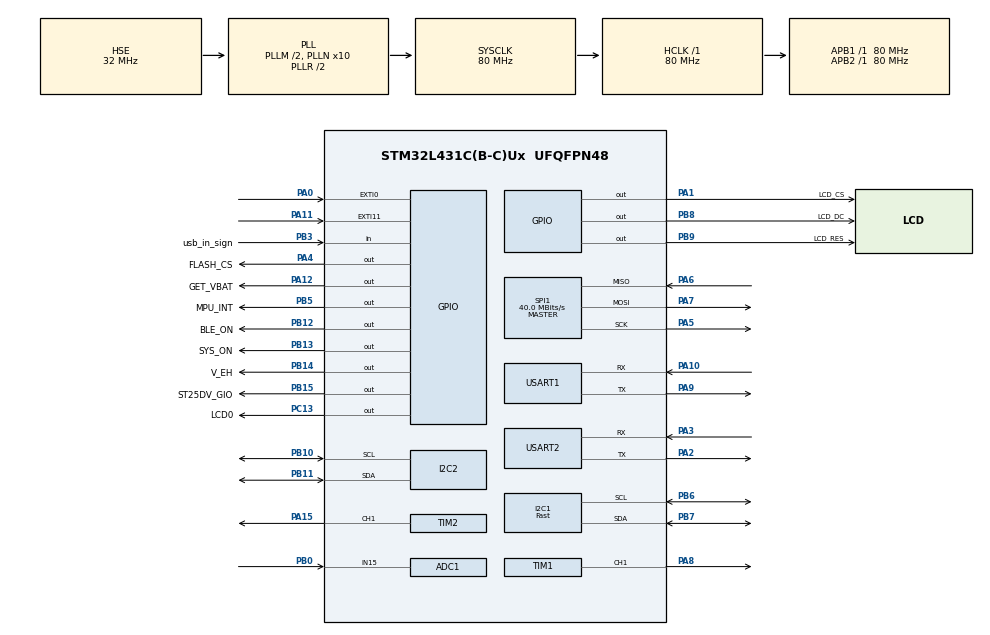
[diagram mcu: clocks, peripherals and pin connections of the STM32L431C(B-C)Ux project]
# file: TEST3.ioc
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ADC1.Channel-0\#ChannelRegularConversion=ADC_CHANNEL_15
ADC1.NbrOfConversionFlag=1
ADC1.OffsetNumber-0\#ChannelRegularConversion=ADC_OFFSET_NONE
ADC1.Rank-0\#ChannelRegularConversion=1
ADC1.SamplingTime-0\#ChannelRegularConversion=ADC_SAMPLETIME_2CYCLES_5
ADC1.master=1
Dma.Request0=SPI1_TX
Dma.Request1=USART2_RX
Dma.Request2=USART2_TX
Dma.Request3=USART1_RX
Dma.Request4=USART1_TX
Dma.SPI1_TX.0.Direction=DMA_MEMORY_TO_PERIPH
Dma.SPI1_TX.0.Instance=DMA1_Channel3
Dma.SPI1_TX.0.MemDataAlignment=DMA_MDATAALIGN_BYTE
Dma.SPI1_TX.0.MemInc=DMA_MINC_ENABLE
Dma.SPI1_TX.0.Mode=DMA_NORMAL
Dma.SPI1_TX.0.PeriphDataAlignment=DMA_PDATAALIGN_BYTE
Dma.SPI1_TX.0.PeriphInc=DMA_PINC_DISABLE
Dma.SPI1_TX.0.Priority=DMA_PRIORITY_VERY_HIGH
Dma.USART1_RX.3.Direction=DMA_PERIPH_TO_MEMORY
Dma.USART1_RX.3.Instance=DMA1_Channel5
Dma.USART1_RX.3.MemDataAlignment=DMA_MDATAALIGN_BYTE
Dma.USART1_RX.3.MemInc=DMA_MINC_ENABLE
Dma.USART1_RX.3.Mode=DMA_NORMAL
Dma.USART1_RX.3.PeriphDataAlignment=DMA_PDATAALIGN_BYTE
Dma.USART1_RX.3.PeriphInc=DMA_PINC_DISABLE
Dma.USART1_RX.3.Priority=DMA_PRIORITY_LOW
Dma.USART1_TX.4.Direction=DMA_MEMORY_TO_PERIPH
Dma.USART1_TX.4.Instance=DMA1_Channel4
Dma.USART1_TX.4.MemDataAlignment=DMA_MDATAALIGN_BYTE
Dma.USART1_TX.4.MemInc=DMA_MINC_ENABLE
Dma.USART1_TX.4.Mode=DMA_NORMAL
Dma.USART1_TX.4.PeriphDataAlignment=DMA_PDATAALIGN_BYTE
Dma.USART1_TX.4.PeriphInc=DMA_PINC_DISABLE
Dma.USART1_TX.4.Priority=DMA_PRIORITY_LOW
Dma.USART2_RX.1.Direction=DMA_PERIPH_TO_MEMORY
Dma.USART2_RX.1.Instance=DMA1_Channel6
Dma.USART2_RX.1.MemDataAlignment=DMA_MDATAALIGN_BYTE
Dma.USART2_RX.1.MemInc=DMA_MINC_ENABLE
Dma.USART2_RX.1.Mode=DMA_NORMAL
Dma.USART2_RX.1.PeriphDataAlignment=DMA_PDATAALIGN_BYTE
Dma.USART2_RX.1.PeriphInc=DMA_PINC_DISABLE
Dma.USART2_RX.1.Priority=DMA_PRIORITY_LOW
Dma.USART2_TX.2.Direction=DMA_MEMORY_TO_PERIPH
Dma.USART2_TX.2.Instance=DMA1_Channel7
Dma.USART2_TX.2.MemDataAlignment=DMA_MDATAALIGN_BYTE
Dma.USART2_TX.2.MemInc=DMA_MINC_ENABLE
Dma.USART2_TX.2.Mode=DMA_NORMAL
Dma.USART2_TX.2.PeriphDataAlignment=DMA_PDATAALIGN_BYTE
Dma.USART2_TX.2.PeriphInc=DMA_PINC_DISABLE
Dma.USART2_TX.2.Priority=DMA_PRIORITY_LOW
FREERTOS.HEAP_NUMBER=1
FREERTOS.Tasks01=defaultTask,24,550,StartDefaultTask,Default,NULL,Dynamic,NULL,NULL;myTask02,9,550,StartTask02,Default,NULL,Dynamic,NULL,NULL
FREERTOS.configTOTAL_HEAP_SIZE=8000
I2C1.I2C_Speed_Mode=I2C_Fast
I2C1.Timing=0x00702991
I2C2.Timing=0x10909CEC
Mcu.Family=STM32L4
Mcu.Name=STM32L431C(B-C)Ux
Mcu.Package=UFQFPN48
NVIC.DMA1_Channel3_IRQn=true\:0\:0\:false\:false\:true\:false\:false\:true
NVIC.DMA1_Channel4_IRQn=true\:0\:0\:false\:false\:true\:false\:false\:true
NVIC.DMA1_Channel5_IRQn=true\:0\:0\:false\:false\:true\:false\:false\:true
NVIC.DMA1_Channel6_IRQn=true\:0\:0\:false\:false\:true\:false\:false\:true
NVIC.DMA1_Channel7_IRQn=true\:0\:0\:false\:false\:true\:false\:false\:true
NVIC.EXTI0_IRQn=true\:3\:0\:true\:false\:true\:false\:true\:true
NVIC.EXTI15_10_IRQn=true\:3\:0\:true\:false\:true\:false\:true\:true
NVIC.PriorityGroup=NVIC_PRIORITYGROUP_4
NVIC.RTC_Alarm_IRQn=true\:0\:0\:false\:false\:true\:true\:true\:true
NVIC.TIM6_DAC_IRQn=true\:0\:0\:false\:false\:true\:false\:false\:true
NVIC.TimeBase=TIM6_DAC_IRQn
NVIC.TimeBaseIP=TIM6
NVIC.USART1_IRQn=true\:1\:0\:true\:false\:true\:false\:true\:true
NVIC.USART2_IRQn=true\:2\:0\:true\:false\:true\:false\:true\:true
PA0.GPIO_ModeDefaultEXTI=GPIO_MODE_IT_RISING
PA0.GPIO_PuPd=GPIO_PULLDOWN
PA0.Signal=GPXTI0
PA1.GPIO_Label=LCD_CS
PA1.Signal=GPIO_Output
PA10.Mode=Asynchronous
PA10.Signal=USART1_RX
PA11.Signal=GPXTI11
PA12.GPIO_Label=GET_VBAT
PA12.Signal=GPIO_Output
PA13\ (JTMS-SWDIO).Mode=Serial_Wire
PA13\ (JTMS-SWDIO).Signal=SYS_JTMS-SWDIO
PA14\ (JTCK-SWCLK).Mode=Serial_Wire
PA14\ (JTCK-SWCLK).Signal=SYS_JTCK-SWCLK
PA15\ (JTDI).Signal=S_TIM2_CH1
PA2.Mode=Asynchronous
PA2.Signal=USART2_TX
PA3.Mode=Asynchronous
PA3.Signal=USART2_RX
PA4.GPIO_Label=FLASH_CS
PA4.PinState=GPIO_PIN_SET
PA4.Signal=GPIO_Output
PA5.Mode=Full_Duplex_Master
PA5.Signal=SPI1_SCK
PA6.Mode=Full_Duplex_Master
PA6.Signal=SPI1_MISO
PA7.Mode=Full_Duplex_Master
PA7.Signal=SPI1_MOSI
PA8.Signal=S_TIM1_CH1
PA9.Mode=Asynchronous
PA9.Signal=USART1_TX
PB0.Signal=ADCx_IN15
PB10.Mode=I2C
PB10.Signal=I2C2_SCL
PB11.Mode=I2C
PB11.Signal=I2C2_SDA
PB12.GPIO_Label=BLE_ON
PB12.GPIO_PuPd=GPIO_PULLUP
PB12.GPIO_Speed=GPIO_SPEED_FREQ_LOW
PB12.Signal=GPIO_Output
PB13.GPIO_Label=SYS_ON
PB13.GPIO_PuPd=GPIO_PULLUP
PB13.PinState=GPIO_PIN_SET
PB13.Signal=GPIO_Output
PB14.GPIO_Label=V_EH
PB14.GPIO_PuPd=GPIO_PULLUP
PB14.Signal=GPIO_Output
PB15.GPIO_Label=ST25DV_GIO
PB15.Signal=GPIO_Output
PB3\ (JTDO-TRACESWO).GPIO_Label=usb_in_sign
PB3\ (JTDO-TRACESWO).Signal=GPIO_Input
PB5.GPIO_Label=MPU_INT
PB5.Signal=GPIO_Output
PB6.Mode=I2C
PB6.Signal=I2C1_SCL
PB7.Mode=I2C
PB7.Signal=I2C1_SDA
PB8.GPIO_Label=LCD_DC
PB8.Signal=GPIO_Output
PB9.GPIO_Label=LCD_RES
PB9.Signal=GPIO_Output
PC13.GPIO_Label=LCD0
PC13.Signal=GPIO_Output
PC14-OSC32_IN\ (PC14).Mode=LSE-External-Oscillator
PC14-OSC32_IN\ (PC14).Signal=RCC_OSC32_IN
PC15-OSC32_OUT\ (PC15).Mode=LSE-External-Oscillator
PC15-OSC32_OUT\ (PC15).Signal=RCC_OSC32_OUT
PH0-OSC_IN\ (PH0).Mode=HSE-External-Oscillator
PH0-OSC_IN\ (PH0).Signal=RCC_OSC_IN
PH1-OSC_OUT\ (PH1).Mode=HSE-External-Oscillator
PH1-OSC_OUT\ (PH1).Signal=RCC_OSC_OUT
ProjectManager.HeapSize=0x200
ProjectManager.StackSize=0x400
ProjectManager.TargetToolchain=MDK-ARM V5.27
RCC.ADCFreq_Value=64000000
RCC.AHBFreq_Value=80000000
RCC.APB1Freq_Value=80000000
RCC.APB1TimFreq_Value=80000000
RCC.APB2Freq_Value=80000000
RCC.APB2TimFreq_Value=80000000
RCC.CortexFreq_Value=80000000
RCC.HCLKFreq_Value=80000000
RCC.HSE_VALUE=32000000
RCC.HSI48_VALUE=48000000
RCC.HSI_VALUE=16000000
RCC.MSI_VALUE=4000000
RCC.PLLM=2
RCC.PLLN=10
RCC.PLLSourceVirtual=RCC_PLLSOURCE_HSE
RCC.SYSCLKFreq_VALUE=80000000
RCC.SYSCLKSource=RCC_SYSCLKSOURCE_PLLCLK
RCC.VCOOutputFreq_Value=160000000
RTC.Alarm-Alarm\ A=RTC_ALARM_A
RTC.Alarm_B-Alarm\ B=RTC_ALARM_B
RTC.Format=RTC_FORMAT_BIN
RTC.Hours=12
RTC.Hours_A-Alarm\ A=12
RTC.Minutes=30
RTC.Minutes_A-Alarm\ A=0
RTC.Minutes_B-Alarm\ B=1
RTC.SubSeconds_A-Alarm\ A=10
SH.ADCx_IN15.0=ADC1_IN15,IN15-Single-Ended
SH.S_TIM1_CH1.0=TIM1_CH1,PWM Generation1 CH1
SH.S_TIM2_CH1.0=TIM2_CH1,PWM Generation1 CH1
SPI1.BaudRatePrescaler=SPI_BAUDRATEPRESCALER_2
SPI1.CLKPhase=SPI_PHASE_2EDGE
SPI1.CLKPolarity=SPI_POLARITY_HIGH
SPI1.CalculateBaudRate=40.0 MBits/s
SPI1.DataSize=SPI_DATASIZE_8BIT
SPI1.Direction=SPI_DIRECTION_2LINES
SPI1.Mode=SPI_MODE_MASTER
SPI1.VirtualType=VM_MASTER
TIM1.Channel-PWM\ Generation1\ CH1=TIM_CHANNEL_1
TIM1.Period=500-1
TIM1.Prescaler=100-1
TIM2.Channel-PWM\ Generation1\ CH1=TIM_CHANNEL_1
TIM2.Period=500-1
TIM2.Prescaler=100-1
USART1.VirtualMode-Asynchronous=VM_ASYNC
USART2.VirtualMode-Asynchronous=VM_ASYNC
VP_FREERTOS_VS_CMSIS_V2.Mode=CMSIS_V2
VP_RTC_VS_RTC_Activate.Mode=RTC_Enabled
VP_RTC_VS_RTC_Alarm_A_Intern.Mode=Alarm A
VP_RTC_VS_RTC_Alarm_B_Intern.Mode=Alarm B
VP_RTC_VS_RTC_Calendar.Mode=RTC_Calendar
VP_SYS_VS_tim6.Mode=TIM6
board=custom

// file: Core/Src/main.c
/* USER CODE BEGIN Header */
/**
  ******************************************************************************
  * @file           : main.c
  * @brief          : Main program body
  ******************************************************************************
  * @attention
  *
  * <h2><center>&copy; Copyright (c) 2021 STMicroelectronics.
  * All rights reserved.</center></h2>
  *
  * This software component is licensed by ST under BSD 3-Clause license,
  * the "License"; You may not use this file except in compliance with the
  * License. You may obtain a copy of the License at:
  *                        opensource.org/licenses/BSD-3-Clause
  *
  ******************************************************************************
  */
/* USER CODE END Header */
#include "main.h"
#include "cmsis_os.h"
#include "adc.h"
#include "dma.h"
#include "i2c.h"
#include "rtc.h"
#include "spi.h"
#include "tim.h"
#include "usart.h"
#include "gpio.h"

/* USER CODE BEGIN Includes */

#include "stdio.h"

#include "lcd_init.h"
#include "lcd.h"
#include "getword.h"
//#include "pic.h"
//#include "picmain.h"

#include "mpu6050.h"
#include "inv_mpu.h"
#include "inv_mpu_dmp_motion_driver.h"

#include "hmc5883l.h"

#include "SI7021.h"

#include "w25q64.h"

#include "taskfun.h"

#include "string.h"
#include "ymodel.h"
//lvgl相关的库
#include "lvgl.h"
#include "lv_port_disp.h"
#include "lv_port_indev.h"
#include "lv_apps\demo\demo.h"

#include "testtaskFun.h" //测试类的函数库 //里面的函数全部都用来做测试
#include "guitest.h"  //lvgl的相关测试
#include "app_menu.h" //菜单目录
/* USER CODE END Includes */

/* USER CODE BEGIN PTD */
#ifdef __GNUC__
#define PUTCHAR_PROTOTYPE int __io_putchar(int ch)
#else
#define PUTCHAR_PROTOTYPE int fputc(int ch, FILE *f)
#endif
PUTCHAR_PROTOTYPE
{
    //具体哪个串口可以更改huart1为其它串口
    HAL_UART_Transmit(&huart1, (uint8_t *)&ch, 1, 0xffff);
    return ch;
}

void SystemClock_Config(void);
void MX_FREERTOS_Init(void);

int main(void)
{
    /* USER CODE BEGIN 1 */
//#define	test_model
#ifdef test_model
    int i;

    float pitch,roll,yaw; 		//欧拉角
    short aacx,aacy,aacz;		//加速度传感器原始数据
    short gyrox,gyroy,gyroz;	//陀螺仪原始数据
    short temp;					//温度

    float Curent_Angle;

    unsigned char USB_in_SIGN = 0;
    unsigned char KEY_1 = 0;
    unsigned char KEY_2 = 0;

    float ADC_Value_BATTERY = 0;

    int Hp = 0;
    unsigned char GBH = 0x00;
    unsigned char GBL = 0x00;
    unsigned char size = 128;
    int t=0;
#endif

    HAL_Init();

    SystemClock_Config();

    MX_GPIO_Init();
    MX_DMA_Init();
    MX_SPI1_Init();
    MX_USART1_UART_Init();
    MX_TIM1_Init();
    MX_I2C1_Init();
    MX_I2C2_Init();
    MX_USART2_UART_Init();
    MX_TIM2_Init();
    MX_RTC_Init();
    MX_ADC1_Init();
    //把 lv_tick_inc(1)放在了 vApplicationTickHook里面 所以tim7不用了
		// MX_TIM7_Init();
    /* USER CODE BEGIN 2 */
    init_task();
    lv_init();						//lvgl系统初始化
    lv_port_disp_init();	//lvgl显示接口初始化,放在lv_init()的后面
    lv_port_indev_init();	//lvgl输入接口初始化,放在lv_init()的后面
    osKernelInitialize();  /* Call init function for freertos objects (in freertos.c) */
    MX_FREERTOS_Init();
    osKernelStart();
    while(1)
    {

    }

}

void SystemClock_Config(void)
{
    RCC_OscInitTypeDef RCC_OscInitStruct = {0};
    RCC_ClkInitTypeDef RCC_ClkInitStruct = {0};
    RCC_PeriphCLKInitTypeDef PeriphClkInit = {0};

    /** Initializes the RCC Oscillators according to the specified parameters
    * in the RCC_OscInitTypeDef structure.
    */
    RCC_OscInitStruct.OscillatorType = RCC_OSCILLATORTYPE_LSI|RCC_OSCILLATORTYPE_HSE;
    RCC_OscInitStruct.HSEState = RCC_HSE_ON;
    RCC_OscInitStruct.LSIState = RCC_LSI_ON;
    RCC_OscInitStruct.PLL.PLLState = RCC_PLL_ON;
    RCC_OscInitStruct.PLL.PLLSource = RCC_PLLSOURCE_HSE;
    RCC_OscInitStruct.PLL.PLLM = 2;
    //RCC_OscInitStruct.PLL.PLLM = 1;  //改成1才是80m
    RCC_OscInitStruct.PLL.PLLN = 10;
    //RCC_OscInitStruct.PLL.PLLN = 36; //核心板的hse为8m 所以这里设置为40 最后就能得到80m 但实际上配置成40 flash读不出数据，所以设置为35
    RCC_OscInitStruct.PLL.PLLP = RCC_PLLP_DIV7;
    RCC_OscInitStruct.PLL.PLLQ = RCC_PLLQ_DIV2;
    RCC_OscInitStruct.PLL.PLLR = RCC_PLLR_DIV2;
    if (HAL_RCC_OscConfig(&RCC_OscInitStruct) != HAL_OK)
    {
        Error_Handler();
    }
    /** Initializes the CPU, AHB and APB buses clocks
    */
    RCC_ClkInitStruct.ClockType = RCC_CLOCKTYPE_HCLK|RCC_CLOCKTYPE_SYSCLK
                                  |RCC_CLOCKTYPE_PCLK1|RCC_CLOCKTYPE_PCLK2;
    RCC_ClkInitStruct.SYSCLKSource = RCC_SYSCLKSOURCE_PLLCLK;
    RCC_ClkInitStruct.AHBCLKDivider = RCC_SYSCLK_DIV1;
    RCC_ClkInitStruct.APB1CLKDivider = RCC_HCLK_DIV1;
    RCC_ClkInitStruct.APB2CLKDivider = RCC_HCLK_DIV1;

    if (HAL_RCC_ClockConfig(&RCC_ClkInitStruct, FLASH_LATENCY_4) != HAL_OK)
    {
        Error_Handler();
    }
    PeriphClkInit.PeriphClockSelection = RCC_PERIPHCLK_RTC|RCC_PERIPHCLK_USART1
                                         |RCC_PERIPHCLK_USART2|RCC_PERIPHCLK_I2C1
                                         |RCC_PERIPHCLK_I2C2|RCC_PERIPHCLK_ADC;
    PeriphClkInit.Usart1ClockSelection = RCC_USART1CLKSOURCE_PCLK2;
    PeriphClkInit.Usart2ClockSelection = RCC_USART2CLKSOURCE_PCLK1;
    PeriphClkInit.I2c1ClockSelection = RCC_I2C1CLKSOURCE_PCLK1;
    PeriphClkInit.I2c2ClockSelection = RCC_I2C2CLKSOURCE_PCLK1;
    PeriphClkInit.AdcClockSelection = RCC_ADCCLKSOURCE_PLLSAI1;
    PeriphClkInit.RTCClockSelection = RCC_RTCCLKSOURCE_LSI;
    PeriphClkInit.PLLSAI1.PLLSAI1Source = RCC_PLLSOURCE_HSE;
    PeriphClkInit.PLLSAI1.PLLSAI1M = 2;
    PeriphClkInit.PLLSAI1.PLLSAI1N = 8; // 8Mhse这里要改成32
    //PeriphClkInit.PLLSAI1.PLLSAI1N = 32;
    PeriphClkInit.PLLSAI1.PLLSAI1P = RCC_PLLP_DIV7;
    PeriphClkInit.PLLSAI1.PLLSAI1Q = RCC_PLLQ_DIV2;
    PeriphClkInit.PLLSAI1.PLLSAI1R = RCC_PLLR_DIV2;
    PeriphClkInit.PLLSAI1.PLLSAI1ClockOut = RCC_PLLSAI1_ADC1CLK;
    if (HAL_RCCEx_PeriphCLKConfig(&PeriphClkInit) != HAL_OK)
    {
        Error_Handler();
    }
    /** Configure the main internal regulator output voltage
    */
    if (HAL_PWREx_ControlVoltageScaling(PWR_REGULATOR_VOLTAGE_SCALE1) != HAL_OK)
    {
        Error_Handler();
    }
}

void HAL_TIM_PeriodElapsedCallback(TIM_HandleTypeDef *htim)
{
    if (htim->Instance == TIM6) {
        HAL_IncTick();
    }
}

void Error_Handler(void)
{

}

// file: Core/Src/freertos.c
/* USER CODE BEGIN Header */
/**
  ******************************************************************************
  * File Name          : freertos.c
  * Description        : Code for freertos applications
  ******************************************************************************
  * @attention
  *
  * <h2><center>&copy; Copyright (c) 2021 STMicroelectronics.
  * All rights reserved.</center></h2>
  *
  * This software component is licensed by ST under Ultimate Liberty license
  * SLA0044, the "License"; You may not use this file except in compliance with
  * the License. You may obtain a copy of the License at:
  *                             www.st.com/SLA0044
  *
  ******************************************************************************
  */
/* USER CODE END Header */

#include "FreeRTOS.h"
#include "task.h"
#include "main.h"
#include "cmsis_os.h"
#include "lv_port_indev.h"
#include "stdio.h"
#include "stm32l4xx_it.h"
#include "lvgl.h"
#include "key.h"
#include "menu_page.h"
#include "guitest.h"
/* USER CODE BEGIN Includes */
#include "taskfun.h"
#include "SI7021.h"

#include "usart.h"

osThreadId_t defaultTaskHandle;
const osThreadAttr_t defaultTask_attributes = {
    .name = "defaultTask",
    .priority = (osPriority_t) osPriorityNormal,
    .stack_size = 550 * 2
};
/* Definitions for button_task */
osThreadId_t Button_Task_handler;
const osThreadAttr_t button_task_attributes = {
    .name = "button_task",
    .priority = (osPriority_t) osPriorityNormal,
    .stack_size = 550 * 2
};

//LVGL task
osThreadId_t lv_task_handler_task_handle;
const osThreadAttr_t lv_task_handler_task_attributes = {
    .name = "lv_task_handler_task",
    .priority = (osPriority_t) osPriorityAboveNormal,
    .stack_size = 512 *4
};

//时间数据更新task
osThreadId_t Data_Task_handler;
const osThreadAttr_t data_task_attributes = {
    .name = "data_task",
    .priority = (osPriority_t) osPriorityNormal,
    .stack_size = 550 * 2
};

//其他传感器数据更新task
osThreadId_t Sensor_Task_handler;
const osThreadAttr_t sensor_task_attributes = {
    .name = "sensor_task",
    .priority = (osPriority_t) osPriorityNormal,
    .stack_size = 550 * 2
};

//检测是否该进入休眠模式task
osThreadId_t Sleep_Task_handler;
const osThreadAttr_t sleep_task_attributes = {
    .name = "sleep_task",
    .priority = (osPriority_t) 25,
    .stack_size = 550 * 2
};

//蓝牙数据检测
osThreadId_t Ble_Task_handler;
const osThreadAttr_t ble_task_attributes = {
    .name = "ble_task",
    .priority = (osPriority_t) 26,
    .stack_size = 550 * 2
};

void StartDefaultTask(void *argument);
void Button_task(void *argument);
void lv_task_handler_task( void *argument );
void MX_FREERTOS_Init(void); /* (MISRA C 2004 rule 8.1) */
void Data_task(void *argument);
void Sensor_task(void *argument);
void Sleep_task(void *argument);
void Ble_task(void *argument);

void MX_FREERTOS_Init(void) {

// defaultTaskHandle = osThreadNew(StartDefaultTask, NULL, &defaultTask_attributes);

    /* creation of button_task */
    Button_Task_handler = osThreadNew(Button_task, NULL, &button_task_attributes);

    lv_task_handler_task_handle = osThreadNew(lv_task_handler_task, NULL, &lv_task_handler_task_attributes);

    Data_Task_handler = osThreadNew(Data_task, NULL, &data_task_attributes);

    Ble_Task_handler = osThreadNew(Ble_task, NULL, &ble_task_attributes);
    Sleep_Task_handler = osThreadNew(Sleep_task, NULL, &sleep_task_attributes);
    Sensor_Task_handler = osThreadNew(Sensor_task, NULL, &sensor_task_attributes);

}

void StartDefaultTask(void *argument)
{
    /* USER CODE BEGIN StartDefaultTask */
    /* Infinite loop */
    for(;;)
    {
        task_base();

        //display_test_task();
        //printf("out of task task_base");
        osDelay(1);
    }
    /* USER CODE END StartDefaultTask */
}

void Button_task(void *argument)
{
    int button=0;
    printf("button=%d",button);
    /* USER CODE BEGIN Button_task */
    /* Infinite loop */
    for(;;)
    {

        button=button_scan();
        LCD_display(button);

        if(button!=0)
            printf("button=%d",button);
        osDelay(100);
    }
    /* USER CODE END Button_task */
}

void lv_task_handler_task( void *argument )
{
    TickType_t xLastWakeTime;
    const TickType_t xPeriod = pdMS_TO_TICKS( 5 );
    lv_theme_t * theme = lv_theme_mono_init(210,NULL); //创建 mono 主题 消耗很少的ram
    lv_theme_set_current(theme); //使用主题;
    app_menu_create(); //菜单创建
    app_menu_tip_create();
    app_setting_create();
    app_about_create();
    app_lighting_create();
		LmeterSec_Create();
    app_digital_clock_create();
		app_memo_create();

    // 使用当前时间初始化变量xLastWakeTime ,注意这和vTaskDelay()函数不同
    xLastWakeTime = xTaskGetTickCount();

    for(;;)
    {
        /* 调用系统延时函数,周期性阻塞5ms */
        vTaskDelayUntil( &xLastWakeTime,xPeriod );
        //osDelay(500);
        lv_task_handler();
        /*******/
    }
    vTaskDelete(NULL);
}

int time_change_flag=1,date_change_flag=1,week_change_flag=1,second_change_flag=1,bat_change_flag=1;

int pre_time=-1,pre_date=-1,pre_week=-1,pre_second=-1,pre_bat=-1;
void Data_task(void *argument)
{

    for(;;)
    {

        //获取rtc时间
        get_time();
        ////记得sprintf后，把两个数组的最后一位置为停止位，否则别的label会显示不全

        if(pre_date!=sDate.Date)
        {
            sprintf((char*)date_now,"%02d-%02d",sDate.Month,sDate.Date);
            //sprintf((char*)date_now,"%02d",sDate.Date);
            pre_date=sDate.Date;
            date_change_flag=1;
            date_now[5]='\0';
            printf("m=%d date=%d  string=%s \r\n",sDate.Month,sDate.Date,date_now);
        }
        if(pre_time!=sTime.Minutes)
        {
						printf("get in data_task pre_min!=sTime.min \r\n");
            sprintf((char*)time_now,"%02d:%02d",sTime.Hours,sTime.Minutes);
            pre_time=sTime.Minutes;
            time_change_flag=1;
            time_now[5]='\0';

        }
        if(pre_second!=sTime.Seconds)
        {
            second_change_flag=1;
            pre_second=sTime.Seconds;
            sprintf((char*)second_now,"%02d",sTime.Seconds);
            second_now[2]='\0';
        }

        if(pre_week!=sDate.WeekDay)
        {
            pre_week=sDate.WeekDay;
            week_change_flag=1;
        }

        osDelay(100);
    }

}

unsigned long stepcount=0;
void Sensor_task(void *argument)
{

    int temp=0,humi=0;
    int mpu6050_try_times=0; //最多允许重试初始化5次
    int step_ret=-1;

    for(;;)
    {

        /*
        	if(pre_bat!=get_vbat())
        	{
        		pre_bat= get_vbat();//电量; //变化的频率不需要大，取平均值
        		sprintf((char*)bat_now,"%02d",pre_bat);
        		bat_change_flag=1;
        	}
        	*/

        if(pre_bat!=get_vbat())
        {
            pre_bat= get_vbat();//电量; //变化的频率不需要大，取平均值
            sprintf((char*)bat_now,"%02d",pre_bat);
            bat_change_flag=1;
            bat_now[2]='\0';
        }
        //温湿度
        measure_Si7021();//每秒采样数据
        temp=(int)TEMP_buf;
        humi=(int)Humi_buf;
        //printf("温度:%.2f 湿度:%.2f \r\n",TEMP_buf,Humi_buf);
        sprintf((char*)temperature_now,"%02d",temp);
        sprintf((char*)humidity_now,"%02d%",humi);
        temperature_now[2]='\0';
        humidity_now[3]='\0';

        //步数 初始化函数写在这里会影响其他传感器的读取，考虑再建一个task？

        printf("MPU6050 init ok ------>\r\n");
        step_ret=dmp_get_pedometer_step_count(&stepcount); //计步器获取到步数
        if(step_ret==0)
        {
            sprintf((char*)step_now,"%04lu",stepcount);
        }
        else
        {
            MPU_Init();					//初始化MPU6050
            while(mpu_dmp_init())
            {
                printf("MPU6050 error\r\n");
                mpu6050_try_times++;
                if(	mpu6050_try_times>5)
                {
                    mpu6050_try_times=0;
                    break;
                }
                osDelay(10);
            }
        }
        step_now[4]='\0';

        osDelay(1000); //1s
    }

}

void Sleep_task(void *argument)
{
    int tick_for_sleep=0;

    for(;;)
    {
        if(current_page==Page_Watch)
        {
            //持续没按键按下超过5s就休眠
            while(KEY_1 ==0 && KEY_2==0)
            {
                tick_for_sleep+=10;
                if(tick_for_sleep>=5000)
                {
                    //sleep
                    tick_for_sleep=0;
                    //Checking_into_sleep();
                    low_power_model();

                }
                osDelay(10);
            }
        }
        tick_for_sleep=0;
        osDelay(800);
    }

}

uint8_t  buferRX[200] = {0};
uint8_t  bufferLen = 0;
void Ble_task(void *argument)
{
    int i=0;
    //uint8_t  buferRX[128] = {0};
    //uint8_t  bufferLen = 0;
    uint8_t BLE_time[6] = {0};

    uint8_t message_indicate[64] = {0};
    uint8_t message_indicate_len = 0;
    RTC_TimeTypeDef sTime = {0};
    RTC_DateTypeDef sDate = {0};

    // Interface_Set_read(); //读flash似乎会导致不能休眠 并且启动瞬间有花屏 待排查.
    //sleep_time_buffer[2] = light_time;
    //updata_sleep_time();

    for(;;)
    {

        //查看连接蓝牙的串口2 是否接收到了数据
        //为什么要判断两次?因为协议问题?
			/*
        if(Rx1_Flag)    	// Receive flag
        {
            Rx1_Flag=0;	// clean flag
            HAL_UART_Transmit_DMA(&huart2, Rx1_Buf, Rx1_Len);

        }

        //查看连接蓝牙的串口2 是否接收到了数据
        if(Rx1_Flag)    	// Receive flag
        {
            Rx1_Flag=0;	// clean flag
            HAL_UART_Transmit_DMA(&huart2, Rx1_Buf, Rx1_Len);
        }
*/
        /*
        	定义规范：以接收到的buffer的第一个数字为标志位，
        	当接收到的第一个字节为c认为蓝牙连接上了
        	当接收到的第一个字节为d认为蓝牙断开了
        	当接收到的第一个字节是等于号时候，认为有蓝牙数据消息从手机发送过来了
        	=!!"通知" 单次最多发ll送10个汉字
        	=!2"长通知" 代表发送的第1条汉字通知消息，之后还有2调消息
        	=!1"长通知" 代表发送的第2条汉字通知消息，之后还有1调消息
        	=!0"长通知" 代表发送的第3条汉字通知消息，之后还有0调消息
        	=s!"设置时间" 时间排布顺序：month day week hours minutes seconds   73 21 06 08 02 10 0E 27
        	=t!t!晴!!!!多云!! 天气预报消息 C7 E7 21 21 21 21 1E 13 B6 E0 D4 C6 21 21 1D 13
        	=m!"备忘录汉字"
        */
        if(Rx2_Flag)    	// Receive flag
        {

            Rx2_Flag=0;	// clean flag

            for(i=0; i<Rx2_Len; i++)
						//for(i=0; i<100; i++)
            {
                buferRX[i] = Rx2_Buf[i];
            }
            bufferLen = Rx2_Len;

            //HAL_UART_Transmit_DMA(&huart1, Rx2_Buf, Rx2_Len);
						printf("buferRX[0]=%c buferRX=%s rxlen=%d bufflen=%d",buferRX[0],buferRX,Rx2_Len,strlen(buferRX));
            switch(buferRX[0])
            {

            case 'c' :
            {
                printf("蓝牙已经连接\r\n");
                Transient_vibration(); //震动提示
                break;
            }
            case '=' :
            {
                //HAL_UART_Transmit_DMA(&huart1, usart2_rev_buffer, Rx2_Len);
                switch(buferRX[1])
                {
                case 's':
                {
                    printf("获取到了时间\r\n");

                    //   LCD_Draw_flag = 1; //更新通知界面的显示

                    BLE_time[0] = buferRX[3]; //月份
                    BLE_time[1] = buferRX[4]; //日期
                    BLE_time[2] = buferRX[5]; //星期
                    BLE_time[3] = buferRX[6]; //小时
                    BLE_time[4] = buferRX[7]; //分钟
                    BLE_time[5] = buferRX[8]; //秒.

                    printf("%d月 %d日 星期%d %d：%d：%d\r\n",BLE_time[0],BLE_time[1],BLE_time[2],BLE_time[3],BLE_time[4],BLE_time[5]);

                    sTime.Hours = BLE_time[3];
                    sTime.Minutes = BLE_time[4];
                    sTime.Seconds = BLE_time[5];
                    sTime.DayLightSaving = RTC_DAYLIGHTSAVING_NONE;
                    sTime.StoreOperation = RTC_STOREOPERATION_RESET;
                    if (HAL_RTC_SetTime(&hrtc, &sTime, RTC_FORMAT_BIN) != HAL_OK)
                    {
                        Error_Handler();
                    }
                    sDate.WeekDay = BLE_time[2];
                    sDate.Month = BLE_time[0];
                    sDate.Date = BLE_time[1];
                    sDate.Year = 22;

                    if (HAL_RTC_SetDate(&hrtc, &sDate, RTC_FORMAT_BIN) != HAL_OK)
                    {
                        Error_Handler();
                    }
                    Transient_vibration(); //震动提示

                    break;
                }
								case 'm' :
								{
										switch (buferRX[2])
										{
											case '1':
												memo_update(1);
											Transient_vibration(); //震动提示
											break;
											case '2':
												memo_update(2);
											Transient_vibration(); //震动提示
											break;
											case '3':
												memo_update(3);
											Transient_vibration(); //震动提示
											break;
											case '4':
												memo_update(4);
											Transient_vibration(); //震动提示
											break;
										}
										break;
								}
                /*
                case 't':
                {
                printf("获取到了天气\r\n");

                //       LCD_Draw_flag = 1; //更新通知界面的显示
                //      flash_write_flage = 1; //获取蓝牙设备的信息后更新flash操作的标志位
                if(buferRX[5] == '!')
                {
                words1[0] = buferRX[3];
                words1[1] = buferRX[4];
                words_len1 = 1;
                }
                else if(buferRX[7] == '!')
                {
                words1[0] = buferRX[3];
                words1[1] = buferRX[4];
                words1[2] = buferRX[5];
                words1[3] = buferRX[6];
                words_len1 = 2;
                }
                else
                {
                words1[0] = buferRX[3];
                words1[1] = buferRX[4];
                words1[2] = buferRX[5];
                words1[3] = buferRX[6];
                words1[4] = buferRX[7];
                words1[5] = buferRX[8];
                words_len1 = 3;
                }

                day_1_H = buferRX[9];
                day_1_L = buferRX[10];

                printf("今天%s 最高温度%d 最低温度%d\r\n",words1, buferRX[9], buferRX[10]);

                if(buferRX[13] == '!')
                {
                words2[0] = buferRX[11];
                words2[1] = buferRX[12];
                words_len2 = 1;
                }
                else if(buferRX[15] == '!')
                {
                words2[0] = buferRX[11];
                words2[1] = buferRX[12];
                words2[2] = buferRX[13];
                words2[3] = buferRX[14];
                words_len2 = 2;
                }
                else
                {
                words2[0] = buferRX[11];
                words2[1] = buferRX[12];
                words2[2] = buferRX[13];
                words2[3] = buferRX[14];
                words2[4] = buferRX[15];
                words2[5] = buferRX[16];
                words_len2 = 3;
                }

                day_2_H = buferRX[17];
                day_2_L = buferRX[18];

                printf("明天%s 最高温度%d 最低温度%d\r\n",words2, buferRX[17], buferRX[18]);

                //HAL_UART_Transmit_DMA(&huart1, buferRX, bufferLen);
                Transient_vibration(); //震动提示

                break;
                }
                */
                /*
                case '!':
                {
                switch(buferRX[2])
                {
                case '1':
                {
                for(i=3; i<bufferLen; i++)
                {
                message_indicate[i-3] = buferRX[i];
                }
                message_indicate_len = i-3-2; //去除掉换行符

                break;
                }
                case '0':
                {
                for(i=3; i<bufferLen; i++)
                {
                message_indicate[message_indicate_len+i-3] = buferRX[i];
                }

                for(i=0; i<64; i++) //计算汉字部分的长度 得到的长度是实际汉字长度*2
                {
                words3[i] = message_indicate[i]; //转存纯汉字部分

                if(message_indicate[i] == 0)
                {
                words_len3 = i;
                break;
                }
                }
                //      flash_write_flage = 1; //获取蓝牙设备的信息后更新flash操作的标志位

                printf("通知：%s 通知长度：%d\r\n",words3, words_len3);

                break;
                }
                }
                //    LCD_Draw_flag = 1; //更新通知界面的显示

                Transient_vibration(); //震动提示

                break;
                }
                case '#':
                {
                switch(buferRX[2])
                {
                case '1':
                {
                for(i=3; i<bufferLen; i++)
                {
                message_indicate[i-3] = buferRX[i];
                }
                message_indicate_len = i-3-4; //去除掉换行符

                break;
                }
                case '0':
                {
                for(i=3; i<bufferLen; i++)
                {
                message_indicate[message_indicate_len+i-3] = buferRX[i];
                }

                for(i=0; i<64; i++) //计算汉字部分的长度 得到的长度是实际汉字长度*2
                {
                words4[i] = message_indicate[i]; //转存纯汉字部分

                if(message_indicate[i] == 0)
                {
                words_len4 = i;
                break;
                }
                }
                //      flash_write_flage = 1; //获取蓝牙设备的信息后更新flash操作的标志位

                //      LCD_Draw_flag = 1; //界面刷新的标志位

                get_time();

                words_month = sDate.Month; //保存备忘录日期
                words_day = sDate.Date;  //保存备忘录日期

                printf("momo：%s momo length：%d  %d  %d\r\n",words4, words_len4,words_month, words_day);

                break;
                }
                }
                //    LCD_Draw_flag = 1; //更新通知界面的显示

                Transient_vibration(); //震动提示

                break;
                }
                */
                default:
                    printf("nothing\r\n");
                }
                break;
            }
            case 'd' :
            {
                printf("断开蓝牙断开接\r\n");
                Transient_vibration(); //震动提示
                break;
            }
            default:
                MX_USART2_UART_Init();
            }
        }

        osDelay(1000);
    }

}
